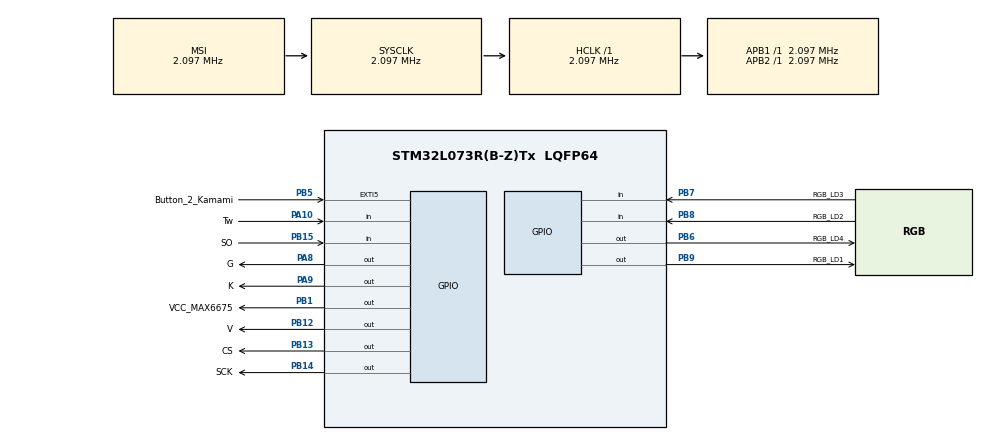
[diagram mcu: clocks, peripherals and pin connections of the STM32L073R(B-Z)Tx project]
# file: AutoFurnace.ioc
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Mcu.Family=STM32L0
Mcu.Name=STM32L073R(B-Z)Tx
Mcu.Package=LQFP64
NVIC.EXTI4_15_IRQn=true\:0\:0\:false\:false\:true\:true\:true\:true
PA10.GPIO_Label=Tw
PA10.Signal=GPIO_Input
PA8.GPIO_Label=G
PA8.PinState=GPIO_PIN_RESET
PA8.Signal=GPIO_Output
PA9.GPIO_Label=K
PA9.Signal=GPIO_Output
PB1.GPIO_Label=VCC_MAX6675
PB1.PinState=GPIO_PIN_SET
PB1.Signal=GPIO_Output
PB12.GPIO_Label=V
PB12.PinState=GPIO_PIN_RESET
PB12.Signal=GPIO_Output
PB13.GPIO_Label=CS
PB13.GPIO_PuPd=GPIO_PULLUP
PB13.Signal=GPIO_Output
PB14.GPIO_Label=SCK
PB14.PinState=GPIO_PIN_SET
PB14.Signal=GPIO_Output
PB15.GPIO_Label=SO
PB15.Signal=GPIO_Input
PB5.GPIO_Label=Button_2_Kamami
PB5.GPIO_PuPd=GPIO_PULLUP
PB5.Signal=GPXTI5
PB6.GPIO_Label=RGB_LD4
PB6.Signal=GPIO_Output
PB7.GPIO_Label=RGB_LD3
PB7.Signal=GPIO_Input
PB8.GPIO_Label=RGB_LD2
PB8.Signal=GPIO_Input
PB9.GPIO_Label=RGB_LD1
PB9.PinState=GPIO_PIN_SET
PB9.Signal=GPIO_Output
ProjectManager.HeapSize=0x200
ProjectManager.StackSize=0x400
ProjectManager.TargetToolchain=MDK-ARM V5.32
RCC.AHBFreq_Value=2097000
RCC.APB1Freq_Value=2097000
RCC.APB1TimFreq_Value=2097000
RCC.APB2Freq_Value=2097000
RCC.APB2TimFreq_Value=2097000
RCC.HSE_VALUE=8000000
RCC.HSI16_VALUE=16000000
RCC.HSI48_VALUE=48000000
RCC.HSI_VALUE=16000000
RCC.LSE_VALUE=32768
RCC.MSI_VALUE=2097000
RCC.SYSCLKFreq_VALUE=2097000
RCC.VCOOutputFreq_Value=48000000
board=custom

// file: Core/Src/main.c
/* USER CODE BEGIN Header */
/**
  ******************************************************************************
  * @file           : main.c
  * @brief          : Main program body
  ******************************************************************************
  * @attention
  *
  * Copyright (c) 2025 STMicroelectronics.
  * All rights reserved.
  *
  * This software is licensed under terms that can be found in the LICENSE file
  * in the root directory of this software component.
  * If no LICENSE file comes with this software, it is provided AS-IS.
  *
  ******************************************************************************
  */
/* USER CODE END Header */
#include "main.h"

/* USER CODE BEGIN Includes */
#include "file.h"
/* USER CODE END Includes */

void SystemClock_Config(void);
static void MX_GPIO_Init(void);

/* USER CODE BEGIN 0 */
int s_counter;
int m_counter;
unsigned int h_counter;
int pellets_counter;

uint16_t raw_data;
uint16_t temperature;

uint8_t t_send = 20;  // seconds
uint8_t t_stop = 30;  // seconds

typedef enum {SENDING, STOPPING } PStatus;
PStatus pellet_state = STOPPING;

typedef enum {BUTTON_PRESSED, BUTTON_RELEASED} BStatus;
BStatus Button_Status=BUTTON_RELEASED;

float read_temperature();
uint8_t ignition_mode();
uint8_t standby_mode();
void heating_mode();
void emergency_mode();

void emergency_mode() {
	// in case of an emergency we stop everything
	HAL_GPIO_WritePin(G_GPIO_Port, G_Pin, GPIO_PIN_RESET);  // deactivate pellets sending
	HAL_GPIO_WritePin(V_GPIO_Port, V_Pin, GPIO_PIN_RESET);  // deactivate chimney fan
	HAL_GPIO_WritePin(K_GPIO_Port, K_Pin, GPIO_PIN_RESET);  // deactivate ignition heater

	// enter sleep mode
	__WFI(); // Wait for interrupt

}

uint8_t ignition_mode(){

	// deactivate everything just in case
	HAL_GPIO_WritePin(V_GPIO_Port, V_Pin, GPIO_PIN_RESET);  // deactivate chimney fan
	HAL_GPIO_WritePin(K_GPIO_Port, K_Pin, GPIO_PIN_RESET);  // deactivate ignition heater

	HAL_GPIO_WritePin(G_GPIO_Port, G_Pin, GPIO_PIN_SET);  // send wood pellets for 20 seconds
	if (m_counter == t_send * 1000) {

		HAL_GPIO_WritePin(G_GPIO_Port, G_Pin, GPIO_PIN_RESET);  // stop sending wood pellets
		pellet_state = STOPPING;
		pellets_counter = 0;

	}

	HAL_GPIO_WritePin(V_GPIO_Port, V_Pin, GPIO_PIN_SET);  // activate chimney fan

	HAL_GPIO_WritePin(K_GPIO_Port, K_Pin, GPIO_PIN_SET);  // activate ignition heater
	if ((h_counter == 600000) || (temperature > 85)) {

		// if smoke has reached 85 degress we stop ignition heater, ignition was successfull
		// we also stop ignition heater if it's working for more than 10 minutes
		HAL_GPIO_WritePin(K_GPIO_Port, K_Pin, GPIO_PIN_RESET);
	}

	if ((h_counter > 600000) && (temperature < 85)) {
		// if ignition heater is running for more than 10 minutes and pellets still haven't caught on fire
		// because chimney temperature is low as there's no smoke, that means ignition failed

		return 1; // ignition failed
	}
	else {
		return 0; // ignition was successful
	}

}

void heating_mode() {

    HAL_GPIO_WritePin(V_GPIO_Port, V_Pin, GPIO_PIN_SET);  // Activate chimney fan

    if (pellet_state == t_send * 1000) {
        HAL_GPIO_WritePin(G_GPIO_Port, G_Pin, GPIO_PIN_RESET);  // Stop sending pellets
        pellet_state = STOPPING;
				pellets_counter = 0;

    }
    else if (pellet_state == (t_stop + t_send) * 1000) {
        HAL_GPIO_WritePin(G_GPIO_Port, G_Pin, GPIO_PIN_SET);  // Start sending pellets again
        pellet_state = SENDING;

    }

}

uint8_t standby_mode() {

	HAL_GPIO_WritePin(K_GPIO_Port, K_Pin, GPIO_PIN_RESET);  // turn off ignition fan
	HAL_GPIO_WritePin(G_GPIO_Port, G_Pin, GPIO_PIN_RESET);  // stop sending pellets
	pellet_state = STOPPING;
	pellets_counter = 0;
	HAL_GPIO_WritePin(V_GPIO_Port, V_Pin, GPIO_PIN_RESET);  // turn off chimney fan

	// outside device has short or open relay depeneding on water temperature Tw, if water is lower then temperature
	// set on that device relay is short, but if water is hotter, than set in the device, relay is open.
	// we are reading relay status in a pull down configuration
	GPIO_PinState TwPinState = HAL_GPIO_ReadPin(Tw_GPIO_Port, Tw_Pin);

	// the pin is open
	if (TwPinState == GPIO_PIN_SET) {

		return 0;  // water temperature is hot (no heating required)
	}

	// the pin is short
	else {
		return 1;  // water temperature is lower then desired
	}
}

float read_temperature() {

	uint8_t data[16];

	// CS enable
	HAL_GPIO_WritePin(CS_GPIO_Port, CS_Pin, GPIO_PIN_RESET);

	for (int i =0; i <= 16; i++) {

		// SCK enable
		HAL_GPIO_WritePin(SCK_GPIO_Port, SCK_Pin, GPIO_PIN_SET);

		data[i] = HAL_GPIO_ReadPin(SO_GPIO_Port, SO_Pin);

		// SCK disable
		HAL_GPIO_WritePin(SCK_GPIO_Port, SCK_Pin, GPIO_PIN_RESET);
	}

	// CS disnable
	HAL_GPIO_WritePin(CS_GPIO_Port, CS_Pin, GPIO_PIN_SET);

	raw_data = data[3]*1024 + data[4]*512 + data[5]*256 + data[6]*128 + data[7]*64 + data[8]*32 + data[9]*16 + data[10]*8 + data[11]*4 + data[12]*2 + data[13];
	if (data[2] == 1) raw_data = 0 ;  // error

	return raw_data / 4;  // return actual data
}

// start button
void HAL_GPIO_EXTI_Callback(uint16_t GPIO_Pin){
	/* Prevent unused argument(s) compilation warning */
	UNUSED(GPIO_Pin);
		if (GPIO_Pin==GPIO_PIN_5){
			if (Button_Status==BUTTON_RELEASED)
				Button_Status=BUTTON_PRESSED;
			else
				Button_Status=BUTTON_RELEASED;
		}
 /* NOTE: This function Should not be modified, when the callback is needed,
 the HAL_GPIO_EXTI_Callback could be implemented in the user file
 */
}
/* USER CODE END 0 */

int main(void)
{

  /* MCU Configuration--------------------------------------------------------*/

  /* Reset of all peripherals, Initializes the Flash interface and the Systick. */
  HAL_Init();

  /* Configure the system clock */
  SystemClock_Config();

  /* Initialize all configured peripherals */
  MX_GPIO_Init();
  /* USER CODE BEGIN 2 */
	HAL_GPIO_WritePin(RGB_LD4_GPIO_Port,RGB_LD4_Pin,GPIO_PIN_RESET); // test
	HAL_GPIO_WritePin(VCC_MAX6675_GPIO_Port, VCC_MAX6675_Pin, GPIO_PIN_SET); // will be turned on using 5V VCC later
  /* USER CODE END 2 */

  /* Infinite loop */
  /* USER CODE BEGIN WHILE */

  while (1)
  {
		if (pellets_counter > t_send + 1000) {

			//
		}

		if (s_counter == 1000) m_counter = 0; // reset s_counter every second
		if (m_counter == 60000) m_counter = 0; // reset m_counter every minute
		if (h_counter == 3600000) h_counter = 0; // reset h_counter every hour

		// read temperature every second
		if (s_counter == 999) {

			temperature = read_temperature();
		}

		// Start button was pressed
		if (Button_Status == BUTTON_PRESSED) {

			if (ignition_mode() == 0) {
				// ignition was succesfful entering another mode
				heating_mode();

			}
			if (ignition_mode() == 1) {
				// ignition failed
			}
			//HAL_GPIO_TogglePin(RGB_LD1_GPIO_Port,RGB_LD1_Pin); // toggle led
		}

    /* USER CODE END WHILE */

  }
}

void SystemClock_Config(void)
{
  RCC_OscInitTypeDef RCC_OscInitStruct = {0};
  RCC_ClkInitTypeDef RCC_ClkInitStruct = {0};

  /** Configure the main internal regulator output voltage
  */
  __HAL_PWR_VOLTAGESCALING_CONFIG(PWR_REGULATOR_VOLTAGE_SCALE1);

  /** Initializes the RCC Oscillators according to the specified parameters
  * in the RCC_OscInitTypeDef structure.
  */
  RCC_OscInitStruct.OscillatorType = RCC_OSCILLATORTYPE_MSI;
  RCC_OscInitStruct.MSIState = RCC_MSI_ON;
  RCC_OscInitStruct.MSICalibrationValue = 0;
  RCC_OscInitStruct.MSIClockRange = RCC_MSIRANGE_5;
  RCC_OscInitStruct.PLL.PLLState = RCC_PLL_NONE;
  if (HAL_RCC_OscConfig(&RCC_OscInitStruct) != HAL_OK)
  {
    Error_Handler();
  }

  /** Initializes the CPU, AHB and APB buses clocks
  */
  RCC_ClkInitStruct.ClockType = RCC_CLOCKTYPE_HCLK|RCC_CLOCKTYPE_SYSCLK
                              |RCC_CLOCKTYPE_PCLK1|RCC_CLOCKTYPE_PCLK2;
  RCC_ClkInitStruct.SYSCLKSource = RCC_SYSCLKSOURCE_MSI;
  RCC_ClkInitStruct.AHBCLKDivider = RCC_SYSCLK_DIV1;
  RCC_ClkInitStruct.APB1CLKDivider = RCC_HCLK_DIV1;
  RCC_ClkInitStruct.APB2CLKDivider = RCC_HCLK_DIV1;

  if (HAL_RCC_ClockConfig(&RCC_ClkInitStruct, FLASH_LATENCY_0) != HAL_OK)
  {
    Error_Handler();
  }
}

static void MX_GPIO_Init(void)
{
  GPIO_InitTypeDef GPIO_InitStruct = {0};

  /* GPIO Ports Clock Enable */
  __HAL_RCC_GPIOB_CLK_ENABLE();
  __HAL_RCC_GPIOA_CLK_ENABLE();

  /*Configure GPIO pin Output Level */
  HAL_GPIO_WritePin(GPIOB, VCC_MAX6675_Pin|SCK_Pin|RGB_LD1_Pin, GPIO_PIN_SET);

  /*Configure GPIO pin Output Level */
  HAL_GPIO_WritePin(GPIOB, V_Pin|CS_Pin|RGB_LD4_Pin, GPIO_PIN_RESET);

  /*Configure GPIO pin Output Level */
  HAL_GPIO_WritePin(GPIOA, G_Pin|K_Pin, GPIO_PIN_RESET);

  /*Configure GPIO pins : VCC_MAX6675_Pin V_Pin SCK_Pin RGB_LD4_Pin
                           RGB_LD1_Pin */
  GPIO_InitStruct.Pin = VCC_MAX6675_Pin|V_Pin|SCK_Pin|RGB_LD4_Pin
                          |RGB_LD1_Pin;
  GPIO_InitStruct.Mode = GPIO_MODE_OUTPUT_PP;
  GPIO_InitStruct.Pull = GPIO_NOPULL;
  GPIO_InitStruct.Speed = GPIO_SPEED_FREQ_LOW;
  HAL_GPIO_Init(GPIOB, &GPIO_InitStruct);

  /*Configure GPIO pin : CS_Pin */
  GPIO_InitStruct.Pin = CS_Pin;
  GPIO_InitStruct.Mode = GPIO_MODE_OUTPUT_PP;
  GPIO_InitStruct.Pull = GPIO_PULLUP;
  GPIO_InitStruct.Speed = GPIO_SPEED_FREQ_LOW;
  HAL_GPIO_Init(CS_GPIO_Port, &GPIO_InitStruct);

  /*Configure GPIO pins : SO_Pin RGB_LD3_Pin RGB_LD2_Pin */
  GPIO_InitStruct.Pin = SO_Pin|RGB_LD3_Pin|RGB_LD2_Pin;
  GPIO_InitStruct.Mode = GPIO_MODE_INPUT;
  GPIO_InitStruct.Pull = GPIO_NOPULL;
  HAL_GPIO_Init(GPIOB, &GPIO_InitStruct);

  /*Configure GPIO pins : G_Pin K_Pin */
  GPIO_InitStruct.Pin = G_Pin|K_Pin;
  GPIO_InitStruct.Mode = GPIO_MODE_OUTPUT_PP;
  GPIO_InitStruct.Pull = GPIO_NOPULL;
  GPIO_InitStruct.Speed = GPIO_SPEED_FREQ_LOW;
  HAL_GPIO_Init(GPIOA, &GPIO_InitStruct);

  /*Configure GPIO pin : Tw_Pin */
  GPIO_InitStruct.Pin = Tw_Pin;
  GPIO_InitStruct.Mode = GPIO_MODE_INPUT;
  GPIO_InitStruct.Pull = GPIO_NOPULL;
  HAL_GPIO_Init(Tw_GPIO_Port, &GPIO_InitStruct);

  /*Configure GPIO pin : Button_2_Kamami_Pin */
  GPIO_InitStruct.Pin = Button_2_Kamami_Pin;
  GPIO_InitStruct.Mode = GPIO_MODE_IT_RISING;
  GPIO_InitStruct.Pull = GPIO_PULLUP;
  HAL_GPIO_Init(Button_2_Kamami_GPIO_Port, &GPIO_InitStruct);

  /* EXTI interrupt init*/
  HAL_NVIC_SetPriority(EXTI4_15_IRQn, 0, 0);
  HAL_NVIC_EnableIRQ(EXTI4_15_IRQn);

}

void Error_Handler(void)
{
  __disable_irq();
  while (1)
  {
  }
}
